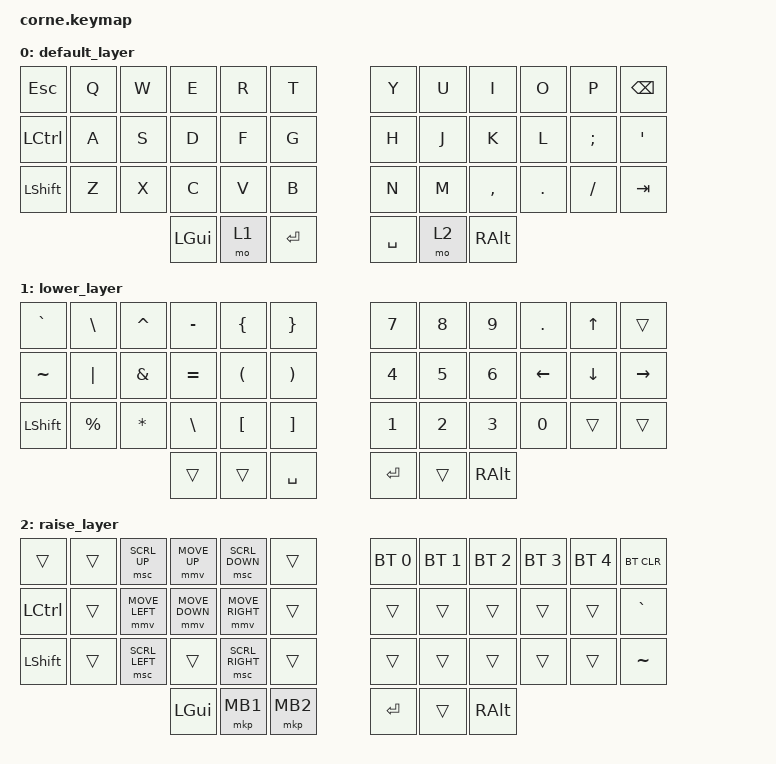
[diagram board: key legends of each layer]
/*
 * Copyright (c) 2020 The ZMK Contributors
 *
 * SPDX-License-Identifier: MIT
 */

#include <behaviors.dtsi>
#include <dt-bindings/zmk/bt.h>
#include <dt-bindings/zmk/keys.h>
#include <dt-bindings/zmk/pointing.h>

/ {
    keymap {
        compatible = "zmk,keymap";

        default_layer {
            // -----------------------------------------------------------------------------------------
            // |  TAB |  Q  |  W  |  E  |  R  |  T  |   |  Y  |  U   |  I  |  O  |  P  | BKSP |
            // | CTRL |  A  |  S  |  D  |  F  |  G  |   |  H  |  J   |  K  |  L  |  ;  |  '   |
            // | SHFT |  Z  |  X  |  C  |  V  |  B  |   |  N  |  M   |  ,  |  .  |  /  | ESC  |
            //                    | GUI | LWR | SPC |   | ENT | RSE  | ALT |

            bindings = <
&kp ESCAPE  &kp Q  &kp W  &kp E     &kp R  &kp T        &kp Y      &kp U  &kp I      &kp O    &kp P          &kp BSPC
&kp LCTRL   &kp A  &kp S  &kp D     &kp F  &kp G        &kp H      &kp J  &kp K      &kp L    &kp SEMICOLON  &kp SQT
&kp LSHFT   &kp Z  &kp X  &kp C     &kp V  &kp B        &kp N      &kp M  &kp COMMA  &kp DOT  &kp FSLH       &kp TAB
                          &kp LGUI  &mo 1  &kp ENTER    &kp SPACE  &mo 2  &kp RALT
            >;
        };

        lower_layer {
            // -----------------------------------------------------------------------------------------
            // |  TAB |  1  |  2  |  3  |  4  |  5  |   |  6  |  7  |  8  |  9  |  0  | BKSP |
            // | BTCLR| BT1 | BT2 | BT3 | BT4 | BT5 |   | LFT | DWN |  UP | RGT |     |      |
            // | SHFT |     |     |     |     |     |   |     |     |     |     |     |      |
            //                    | GUI |     | SPC |   | ENT |     | ALT |

            bindings = <
&kp GRAVE       &kp BACKSLASH  &kp CARET      &kp MINUS      &kp LEFT_BRACE        &kp RIGHT_BRACE          &kp N7   &kp N8  &kp N9    &kp DOT         &kp UP_ARROW    &trans
&kp TILDE       &kp PIPE       &kp AMPERSAND  &kp EQUAL      &kp LEFT_PARENTHESIS  &kp RIGHT_PARENTHESIS    &kp N4   &kp N5  &kp N6    &kp LEFT_ARROW  &kp DOWN_ARROW  &kp RIGHT_ARROW
&kp LEFT_SHIFT  &kp PERCENT    &kp ASTERISK   &kp BACKSLASH  &kp LEFT_BRACKET      &kp RIGHT_BRACKET        &kp N1   &kp N2  &kp N3    &kp N0          &trans          &trans
                                              &trans         &trans                &kp SPACE                &kp RET  &trans  &kp RALT
            >;
        };

        raise_layer {
            // -----------------------------------------------------------------------------------------
            // |  TAB |  !  |  @  |  #  |  $  |  %  |   |  ^  |  &  |  *  |  (  |  )  | BKSP |
            // | CTRL |     |     |     |     |     |   |  -  |  =  |  [  |  ]  |  \  |  `   |
            // | SHFT |     |     |     |     |     |   |  _  |  +  |  {  |  }  | "|" |  ~   |
            //                    | GUI |     | SPC |   | ENT |     | ALT |

            bindings = <
&trans     &trans  &msc SCRL_UP    &mmv MOVE_UP    &msc SCRL_DOWN   &trans      &bt BT_SEL 0  &bt BT_SEL 1  &bt BT_SEL 2  &bt BT_SEL 3  &bt BT_SEL 4  &bt BT_CLR
&kp LCTRL  &trans  &mmv MOVE_LEFT  &mmv MOVE_DOWN  &mmv MOVE_RIGHT  &trans      &trans        &trans        &trans        &trans        &trans        &kp GRAVE
&kp LSHFT  &trans  &msc SCRL_LEFT  &trans          &msc SCRL_RIGHT  &trans      &trans        &trans        &trans        &trans        &trans        &kp TILDE
                                   &kp LGUI        &mkp MB1         &mkp MB2    &kp RET       &trans        &kp RALT
            >;
        };
    };
};
